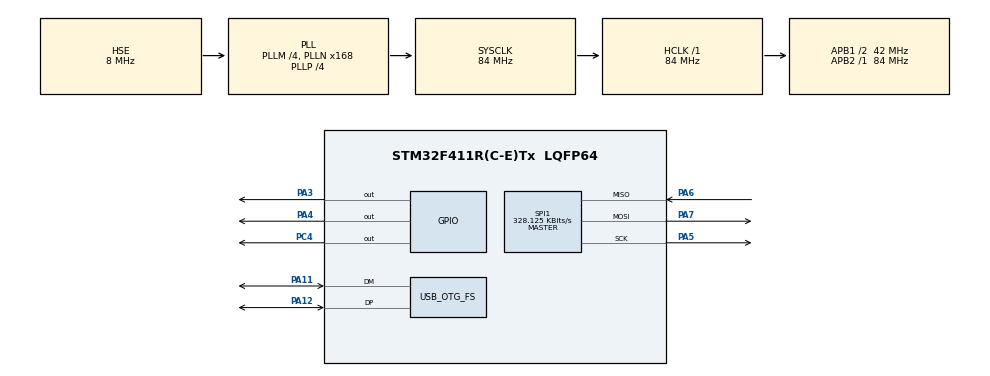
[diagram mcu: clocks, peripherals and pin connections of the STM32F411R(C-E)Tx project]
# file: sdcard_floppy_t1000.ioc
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FATFS._FS_LOCK=4
FATFS._FS_NORTC=1
FATFS._NORTC_MDAY=1
FATFS._NORTC_MON=1
FATFS._NORTC_YEAR=2001
FATFS._USE_LFN=1
FATFS._USE_STRFUNC=0
Mcu.Family=STM32F4
Mcu.Name=STM32F411R(C-E)Tx
Mcu.Package=LQFP64
NVIC.OTG_FS_IRQn=true\:0\:0\:false\:false\:true\:true\:true\:true
NVIC.PriorityGroup=NVIC_PRIORITYGROUP_4
PA11.Mode=Device_Only
PA11.Signal=USB_OTG_FS_DM
PA12.Mode=Device_Only
PA12.Signal=USB_OTG_FS_DP
PA3.GPIO_Speed=GPIO_SPEED_FREQ_MEDIUM
PA3.Signal=GPIO_Output
PA4.GPIO_Speed=GPIO_SPEED_FREQ_MEDIUM
PA4.Signal=GPIO_Output
PA5.Mode=Full_Duplex_Master
PA5.Signal=SPI1_SCK
PA6.GPIO_PuPd=GPIO_PULLUP
PA6.Mode=Full_Duplex_Master
PA6.Signal=SPI1_MISO
PA7.Mode=Full_Duplex_Master
PA7.Signal=SPI1_MOSI
PC4.GPIO_Speed=GPIO_SPEED_FREQ_MEDIUM
PC4.Signal=GPIO_Output
PH0\ -\ OSC_IN.Mode=HSE-External-Oscillator
PH0\ -\ OSC_IN.Signal=RCC_OSC_IN
PH1\ -\ OSC_OUT.Mode=HSE-External-Oscillator
PH1\ -\ OSC_OUT.Signal=RCC_OSC_OUT
ProjectManager.HeapSize=0x200
ProjectManager.StackSize=0x400
ProjectManager.TargetToolchain=STM32CubeIDE
RCC.48MHZClocksFreq_Value=48000000
RCC.AHBFreq_Value=84000000
RCC.APB1CLKDivider=RCC_HCLK_DIV2
RCC.APB1Freq_Value=42000000
RCC.APB1TimFreq_Value=84000000
RCC.APB2Freq_Value=84000000
RCC.APB2TimFreq_Value=84000000
RCC.CortexFreq_Value=84000000
RCC.HCLKFreq_Value=84000000
RCC.HSE_VALUE=8000000
RCC.HSI_VALUE=16000000
RCC.LSE_VALUE=32768
RCC.PLLM=4
RCC.PLLN=168
RCC.PLLP=RCC_PLLP_DIV4
RCC.PLLQ=7
RCC.SYSCLKFreq_VALUE=84000000
RCC.SYSCLKSource=RCC_SYSCLKSOURCE_PLLCLK
RCC.VCOOutputFreq_Value=336000000
SPI1.BaudRatePrescaler=SPI_BAUDRATEPRESCALER_256
SPI1.CalculateBaudRate=328.125 KBits/s
SPI1.Direction=SPI_DIRECTION_2LINES
SPI1.Mode=SPI_MODE_MASTER
SPI1.VirtualType=VM_MASTER
TIM2.Prescaler=83
USB_DEVICE.APP_RX_DATA_SIZE=512
USB_DEVICE.APP_TX_DATA_SIZE=512
USB_DEVICE.CLASS_NAME_FS=CDC
USB_DEVICE.MANUFACTURER_STRING=sdcard_floppy
USB_DEVICE.PRODUCT_STRING_CDC_FS=sdcard_floppy_debug_log
USB_DEVICE.USBD_SELF_POWERED=0
USB_DEVICE.VirtualMode=Cdc
USB_DEVICE.VirtualModeFS=Cdc_FS
USB_OTG_FS.VirtualMode=Device_Only
VP_FATFS_VS_Generic.Mode=User_defined
VP_TIM2_VS_ClockSourceINT.Mode=Internal
VP_USB_DEVICE_VS_USB_DEVICE_CDC_FS.Mode=CDC_FS
board=custom

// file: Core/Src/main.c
/* USER CODE BEGIN Header */
/**
  ******************************************************************************
  * @file           : main.c
  * @brief          : Main program body
  ******************************************************************************
  * @attention
  *
  * Copyright (c) 2026 STMicroelectronics.
  * All rights reserved.
  *
  * This software is licensed under terms that can be found in the LICENSE file
  * in the root directory of this software component.
  * If no LICENSE file comes with this software, it is provided AS-IS.
  *
  ******************************************************************************
  */
/* USER CODE END Header */
#include "main.h"
#include "fatfs.h"
#include "usb_device.h"

/* USER CODE BEGIN Includes */
#include <string.h>

#include "debug_log.h"
#include "core/floppy_drive.h"
#include "floppy_emu.h"
#include "iface/toshiba_fdd_iface.h"
#include "utils.h"

/* USER CODE END Includes */

/* USER CODE BEGIN PD */
#define APP_LOG_TRACK0_MFM    0

/* USER CODE END PD */

SPI_HandleTypeDef hspi1;

TIM_HandleTypeDef htim2;

/* USER CODE BEGIN PV */
static floppy_drive_t s_floppy_drive;
static floppy_emu_t s_floppy_emu;
static toshiba_fdd_iface_t s_toshiba_fdd_iface;
static toshiba_fdd_signal_polarity_t s_toshiba_polarity;
static bool s_prev_step_active;

/* USER CODE END PV */

void SystemClock_Config(void);
static void MX_GPIO_Init(void);
static void MX_SPI1_Init(void);
static void MX_TIM2_Init(void);
/* USER CODE BEGIN PFP */
static void app_init(void);
static void app_log_drive_state(void);
static void app_log_fixed_image(void);
static void app_log_boot_sector(void);
#if APP_LOG_TRACK0_MFM
static void app_log_track0_mfm(void);
#endif
static void app_log_step_result(bool fdcdrc_raw,
                                bool direction_towards_center,
                                uint16_t previous_cylinder,
                                uint16_t new_cylinder,
                                bool step_moved);
static void app_write_drive_outputs_provisional(void);
static void app_service_logical_iface(void);
static void app_service(void);

/* USER CODE END PFP */

/* USER CODE BEGIN 0 */
static void app_log_drive_state(void)
{
  floppy_drive_status_t drive_status;

  floppy_drive_get_status(&s_floppy_drive, &drive_status);

  DEBUG_SERIAL_LOG("drive: cyl=%u head=%u media=%u wprot=%u changed=%u selected=%u motor=%u track0=%u\r\n",
                   drive_status.cylinder,
                   drive_status.head,
                   (unsigned int)drive_status.media_present,
                   (unsigned int)drive_status.write_protected,
                   (unsigned int)drive_status.disk_changed,
                   (unsigned int)drive_status.selected,
                   (unsigned int)drive_status.motor_on,
                   (unsigned int)drive_status.track0);
}

static void app_log_step_result(bool fdcdrc_raw,
                                bool direction_towards_center,
                                uint16_t previous_cylinder,
                                uint16_t new_cylinder,
                                bool step_moved)
{
  DEBUG_SERIAL_LOG("drive step: fdcdrc_raw=%u dir=%s cyl=%u->%u moved=%u\r\n",
                   (unsigned int)fdcdrc_raw,
                   direction_towards_center ? "towards_center" : "towards_track0",
                   previous_cylinder,
                   new_cylinder,
                   (unsigned int)step_moved);
}

static void app_write_drive_outputs_provisional(void)
{
  floppy_drive_status_t drive_status;
  toshiba_fdd_logical_outputs_t logical_outputs;

  /* Provisional bring-up subset: only TRACK0 and WPROTC are driven here. */
  floppy_drive_get_status(&s_floppy_drive, &drive_status);

  memset(&logical_outputs, 0, sizeof(logical_outputs));
  logical_outputs.track0_active = drive_status.track0;
  logical_outputs.track0_valid = true;
  logical_outputs.wprotc_active = drive_status.write_protected;
  logical_outputs.wprotc_valid = true;

  (void)toshiba_fdd_iface_write_outputs(&logical_outputs, &s_toshiba_polarity);
}

static void app_service_logical_iface(void)
{
  const toshiba_fdd_inputs_t *raw_inputs;
  toshiba_fdd_logical_inputs_t logical_inputs;
  floppy_drive_status_t drive_status_before_step;
  floppy_drive_status_t drive_status_after_step;
  bool step_moved;

  if (!toshiba_fdd_iface_decode_inputs(&s_toshiba_fdd_iface,
                                       &s_toshiba_polarity,
                                       &logical_inputs))
  {
    s_prev_step_active = false;
    return;
  }

  if (logical_inputs.drive_select_valid)
  {
    floppy_drive_set_selected(&s_floppy_drive, logical_inputs.drive_select);
  }

  if (logical_inputs.motor_on_valid)
  {
    floppy_drive_set_motor_on(&s_floppy_drive, logical_inputs.motor_on);
  }

  if (logical_inputs.side_valid)
  {
    (void)floppy_drive_set_head(&s_floppy_drive, logical_inputs.side_1_selected ? 1u : 0u);
  }

  step_moved = false;
  if (!logical_inputs.step_active_valid)
  {
    s_prev_step_active = false;
    return;
  }

  if (logical_inputs.step_active && !s_prev_step_active)
  {
    raw_inputs = toshiba_fdd_iface_get_inputs(&s_toshiba_fdd_iface);
    if ((raw_inputs == NULL) || !logical_inputs.direction_valid)
    {
      DEBUG_SERIAL_LOG("drive step edge ignored: fdcdrc direction unavailable\r\n");
      app_write_drive_outputs_provisional();
      s_prev_step_active = logical_inputs.step_active;
      return;
    }

    floppy_drive_get_status(&s_floppy_drive, &drive_status_before_step);

    if (logical_inputs.direction_towards_center)
    {
      step_moved = floppy_drive_step_towards_center(&s_floppy_drive);
    }
    else
    {
      step_moved = floppy_drive_step_towards_track0(&s_floppy_drive);
    }

    floppy_drive_get_status(&s_floppy_drive, &drive_status_after_step);
    app_log_step_result(raw_inputs->fdcdrc_raw,
                        logical_inputs.direction_towards_center,
                        drive_status_before_step.cylinder,
                        drive_status_after_step.cylinder,
                        step_moved);
    app_write_drive_outputs_provisional();
  }

  s_prev_step_active = logical_inputs.step_active;
}

#if APP_LOG_TRACK0_MFM
static void app_log_track0_mfm(void)
{
  static uint16_t s_track_words[FLOPPY_EMU_MAX_TRACK_WORDS];
  floppy_emu_track_info_t track_info;
  floppy_emu_status_t status;
  uint32_t words_to_log;
  uint32_t index;

  status = floppy_drive_build_current_track(&s_floppy_drive,
                                            &s_floppy_emu,
                                            s_track_words,
                                            FLOPPY_EMU_MAX_TRACK_WORDS,
                                            &track_info);
  if (status != FLOPPY_EMU_STATUS_OK)
  {
    DEBUG_SERIAL_LOG("track 0.0 build failed: %s\r\n", floppy_emu_status_str(status));
    return;
  }

  DEBUG_SERIAL_LOG("track 0.0: rate=%u rpm=%u words=%lu gap4a=%lu gap3=%lu pre_index=%lu\r\n",
                   track_info.data_rate_kbps,
                   track_info.rpm,
                   (unsigned long)track_info.track_word_count,
                   (unsigned long)track_info.gap_4a_words,
                   (unsigned long)track_info.gap_3_words,
                   (unsigned long)track_info.pre_index_gap_words);

  words_to_log = (track_info.track_word_count < 8u) ? track_info.track_word_count : 8u;
  DEBUG_SERIAL_LOG("track 0.0 first words:");
  for (index = 0u; index < words_to_log; index++)
  {
    DEBUG_SERIAL_LOG(" %04X", s_track_words[index]);
  }
  DEBUG_SERIAL_LOG("\r\n");
}
#endif

static void app_log_boot_sector(void)
{
  uint8_t boot_sector[FLOPPY_EMU_SECTOR_SIZE];
  uint16_t boot_signature;
  floppy_emu_status_t status;

  status = floppy_emu_read_lba_sector(&s_floppy_emu, 0u, boot_sector, sizeof(boot_sector));
  if (status != FLOPPY_EMU_STATUS_OK)
  {
    DEBUG_SERIAL_LOG("boot sector read failed: %s\r\n", floppy_emu_status_str(status));
    return;
  }

  boot_signature = (uint16_t)boot_sector[510]
                 | ((uint16_t)boot_sector[511] << 8);

  DEBUG_SERIAL_LOG("boot jump=%02X %02X %02X oem='%.8s' sig=%04X\r\n",
                   boot_sector[0],
                   boot_sector[1],
                   boot_sector[2],
                   &boot_sector[3],
                   boot_signature);
}

static void app_log_fixed_image(void)
{
  const floppy_emu_geometry_t *geometry = floppy_emu_get_geometry(&s_floppy_emu);

  if (geometry == NULL)
  {
    DEBUG_SERIAL_LOG("geometry unavailable\r\n");
    return;
  }

  DEBUG_SERIAL_LOG("fixed image: %s\r\n", floppy_emu_get_path(&s_floppy_emu));
  DEBUG_SERIAL_LOG("geometry: %lu bytes, %u cyl, %u heads, %u spt, %u bps\r\n",
                   (unsigned long)s_floppy_emu.size_bytes,
                   geometry->cylinders,
                   geometry->heads,
                   geometry->sectors_per_track,
                   geometry->bytes_per_sector);

  app_log_boot_sector();
  app_log_drive_state();

#if APP_LOG_TRACK0_MFM
  app_log_track0_mfm();
#endif
}

static void app_init(void)
{
  const toshiba_fdd_inputs_t *inputs;
  floppy_emu_status_t status;

  if (HAL_TIM_Base_Start(&htim2) != HAL_OK)
  {
    DEBUG_SERIAL_LOG("tim2 start failed\r\n");
    return;
  }

  delay_ms(200u);
  DEBUG_SERIAL_LOG("\r\nsdcard_floppy_t1000 boot\r\n");

  toshiba_fdd_iface_init(&s_toshiba_fdd_iface);
  inputs = toshiba_fdd_iface_get_inputs(&s_toshiba_fdd_iface);
  if (inputs != NULL)
  {
    DEBUG_SERIAL_LOG("pj5 init raw fd_sela=%u mona=%u lowdns=%u fdcdrc=%u step=%u wgate=%u side=%u wdata=%u\r\n",
                     (unsigned int)inputs->fd_sela_raw,
                     (unsigned int)inputs->mona_raw,
                     (unsigned int)inputs->lowdns_raw,
                     (unsigned int)inputs->fdcdrc_raw,
                     (unsigned int)inputs->step_raw,
                     (unsigned int)inputs->wgate_raw,
                     (unsigned int)inputs->side_raw,
                     (unsigned int)inputs->wdata_raw);
  }
  toshiba_fdd_iface_load_initial_guess_polarity(&s_toshiba_polarity);
  DEBUG_SERIAL_LOG("pj5 polarity loaded: initial_guess\r\n");
  DEBUG_SERIAL_LOG("pj5 fdcdrc initial_guess: raw=0 -> towards_center\r\n");
  DEBUG_SERIAL_LOG("pj5 polarity pending: media rdda\r\n");

  status = floppy_emu_mount_fixed_image(&s_floppy_emu);
  if (status != FLOPPY_EMU_STATUS_OK)
  {
    DEBUG_SERIAL_LOG("fixed image mount failed: %s\r\n", floppy_emu_status_str(status));
    return;
  }

  floppy_drive_init(&s_floppy_drive, &s_floppy_emu);
  app_write_drive_outputs_provisional();
  app_log_fixed_image();
}

static void app_service(void)
{
  uint32_t changed_mask;

  changed_mask = toshiba_fdd_iface_poll_inputs(&s_toshiba_fdd_iface);
  if (changed_mask != TOSHIBA_FDD_CHANGED_NONE)
  {
    toshiba_fdd_iface_log_inputs(&s_toshiba_fdd_iface, changed_mask);
  }

  app_service_logical_iface();
}

/* USER CODE END 0 */

int main(void)
{

  /* MCU Configuration--------------------------------------------------------*/

  /* Reset of all peripherals, Initializes the Flash interface and the Systick. */
  HAL_Init();

  /* Configure the system clock */
  SystemClock_Config();

  /* Initialize all configured peripherals */
  MX_GPIO_Init();
  MX_SPI1_Init();
  MX_USB_DEVICE_Init();
  MX_TIM2_Init();
  MX_FATFS_Init();
  /* USER CODE BEGIN 2 */
  app_init();

  /* USER CODE END 2 */

  /* Infinite loop */
  while (1)
  {

    /* USER CODE BEGIN 3 */
    app_service();
  }
  /* USER CODE END 3 */
}

void SystemClock_Config(void)
{
  RCC_OscInitTypeDef RCC_OscInitStruct = {0};
  RCC_ClkInitTypeDef RCC_ClkInitStruct = {0};

  /** Configure the main internal regulator output voltage
  */
  __HAL_RCC_PWR_CLK_ENABLE();
  __HAL_PWR_VOLTAGESCALING_CONFIG(PWR_REGULATOR_VOLTAGE_SCALE1);

  /** Initializes the RCC Oscillators according to the specified parameters
  * in the RCC_OscInitTypeDef structure.
  */
  RCC_OscInitStruct.OscillatorType = RCC_OSCILLATORTYPE_HSE;
  RCC_OscInitStruct.HSEState = RCC_HSE_ON;
  RCC_OscInitStruct.PLL.PLLState = RCC_PLL_ON;
  RCC_OscInitStruct.PLL.PLLSource = RCC_PLLSOURCE_HSE;
  RCC_OscInitStruct.PLL.PLLM = 4;
  RCC_OscInitStruct.PLL.PLLN = 168;
  RCC_OscInitStruct.PLL.PLLP = RCC_PLLP_DIV4;
  RCC_OscInitStruct.PLL.PLLQ = 7;
  if (HAL_RCC_OscConfig(&RCC_OscInitStruct) != HAL_OK)
  {
    Error_Handler();
  }

  /** Initializes the CPU, AHB and APB buses clocks
  */
  RCC_ClkInitStruct.ClockType = RCC_CLOCKTYPE_HCLK|RCC_CLOCKTYPE_SYSCLK
                              |RCC_CLOCKTYPE_PCLK1|RCC_CLOCKTYPE_PCLK2;
  RCC_ClkInitStruct.SYSCLKSource = RCC_SYSCLKSOURCE_PLLCLK;
  RCC_ClkInitStruct.AHBCLKDivider = RCC_SYSCLK_DIV1;
  RCC_ClkInitStruct.APB1CLKDivider = RCC_HCLK_DIV2;
  RCC_ClkInitStruct.APB2CLKDivider = RCC_HCLK_DIV1;

  if (HAL_RCC_ClockConfig(&RCC_ClkInitStruct, FLASH_LATENCY_2) != HAL_OK)
  {
    Error_Handler();
  }
}

static void MX_SPI1_Init(void)
{

  /* SPI1 parameter configuration*/
  hspi1.Instance = SPI1;
  hspi1.Init.Mode = SPI_MODE_MASTER;
  hspi1.Init.Direction = SPI_DIRECTION_2LINES;
  hspi1.Init.DataSize = SPI_DATASIZE_8BIT;
  hspi1.Init.CLKPolarity = SPI_POLARITY_LOW;
  hspi1.Init.CLKPhase = SPI_PHASE_1EDGE;
  hspi1.Init.NSS = SPI_NSS_SOFT;
  hspi1.Init.BaudRatePrescaler = SPI_BAUDRATEPRESCALER_256;
  hspi1.Init.FirstBit = SPI_FIRSTBIT_MSB;
  hspi1.Init.TIMode = SPI_TIMODE_DISABLE;
  hspi1.Init.CRCCalculation = SPI_CRCCALCULATION_DISABLE;
  hspi1.Init.CRCPolynomial = 10;
  if (HAL_SPI_Init(&hspi1) != HAL_OK)
  {
    Error_Handler();
  }

}

static void MX_TIM2_Init(void)
{

  TIM_ClockConfigTypeDef sClockSourceConfig = {0};
  TIM_MasterConfigTypeDef sMasterConfig = {0};

  htim2.Instance = TIM2;
  htim2.Init.Prescaler = 83;
  htim2.Init.CounterMode = TIM_COUNTERMODE_UP;
  htim2.Init.Period = 4294967295;
  htim2.Init.ClockDivision = TIM_CLOCKDIVISION_DIV1;
  htim2.Init.AutoReloadPreload = TIM_AUTORELOAD_PRELOAD_DISABLE;
  if (HAL_TIM_Base_Init(&htim2) != HAL_OK)
  {
    Error_Handler();
  }
  sClockSourceConfig.ClockSource = TIM_CLOCKSOURCE_INTERNAL;
  if (HAL_TIM_ConfigClockSource(&htim2, &sClockSourceConfig) != HAL_OK)
  {
    Error_Handler();
  }
  sMasterConfig.MasterOutputTrigger = TIM_TRGO_RESET;
  sMasterConfig.MasterSlaveMode = TIM_MASTERSLAVEMODE_DISABLE;
  if (HAL_TIMEx_MasterConfigSynchronization(&htim2, &sMasterConfig) != HAL_OK)
  {
    Error_Handler();
  }

}

static void MX_GPIO_Init(void)
{
  GPIO_InitTypeDef GPIO_InitStruct = {0};

  /* GPIO Ports Clock Enable */
  __HAL_RCC_GPIOH_CLK_ENABLE();
  __HAL_RCC_GPIOA_CLK_ENABLE();
  __HAL_RCC_GPIOC_CLK_ENABLE();

  /*Configure GPIO pin Output Level */
  HAL_GPIO_WritePin(GPIOA, GPIO_PIN_3|GPIO_PIN_4, GPIO_PIN_RESET);

  /*Configure GPIO pin Output Level */
  HAL_GPIO_WritePin(GPIOC, GPIO_PIN_4, GPIO_PIN_RESET);

  /*Configure GPIO pins : PA3 PA4 */
  GPIO_InitStruct.Pin = GPIO_PIN_3|GPIO_PIN_4;
  GPIO_InitStruct.Mode = GPIO_MODE_OUTPUT_PP;
  GPIO_InitStruct.Pull = GPIO_NOPULL;
  GPIO_InitStruct.Speed = GPIO_SPEED_FREQ_MEDIUM;
  HAL_GPIO_Init(GPIOA, &GPIO_InitStruct);

  /*Configure GPIO pin : PC4 */
  GPIO_InitStruct.Pin = GPIO_PIN_4;
  GPIO_InitStruct.Mode = GPIO_MODE_OUTPUT_PP;
  GPIO_InitStruct.Pull = GPIO_NOPULL;
  GPIO_InitStruct.Speed = GPIO_SPEED_FREQ_MEDIUM;
  HAL_GPIO_Init(GPIOC, &GPIO_InitStruct);

}

void Error_Handler(void)
{
  __disable_irq();
  while (1)
  {
  }
}
